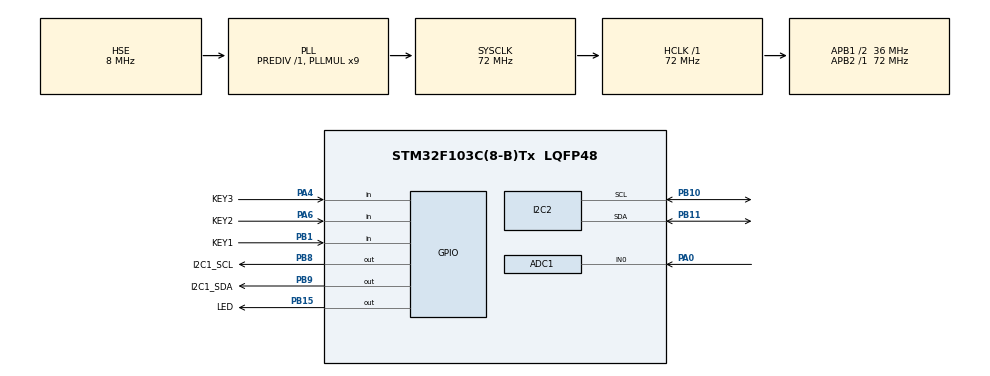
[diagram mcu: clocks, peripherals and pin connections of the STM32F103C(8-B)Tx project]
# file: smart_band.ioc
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ADC1.Channel-0\#ChannelRegularConversion=ADC_CHANNEL_0
ADC1.ContinuousConvMode=ENABLE
ADC1.NbrOfConversionFlag=1
ADC1.Rank-0\#ChannelRegularConversion=1
ADC1.SamplingTime-0\#ChannelRegularConversion=ADC_SAMPLETIME_1CYCLE_5
ADC1.master=1
I2C2.I2C_Mode=I2C_Fast
Mcu.Family=STM32F1
Mcu.Name=STM32F103C(8-B)Tx
Mcu.Package=LQFP48
NVIC.PriorityGroup=NVIC_PRIORITYGROUP_4
NVIC.TIM2_IRQn=true\:1\:0\:true\:false\:true\:true\:true\:true
PA0-WKUP.Signal=ADCx_IN0
PA13.Mode=Serial_Wire
PA13.Signal=SYS_JTMS-SWDIO
PA14.Mode=Serial_Wire
PA14.Signal=SYS_JTCK-SWCLK
PA4.GPIO_Label=KEY3
PA4.GPIO_PuPd=GPIO_PULLUP
PA4.Signal=GPIO_Input
PA6.GPIO_Label=KEY2
PA6.GPIO_PuPd=GPIO_PULLUP
PA6.Signal=GPIO_Input
PB1.GPIO_Label=KEY1
PB1.GPIO_PuPd=GPIO_PULLUP
PB1.Signal=GPIO_Input
PB10.Mode=I2C
PB10.Signal=I2C2_SCL
PB11.Mode=I2C
PB11.Signal=I2C2_SDA
PB15.GPIO_Label=LED
PB15.PinState=GPIO_PIN_SET
PB15.Signal=GPIO_Output
PB8.GPIO_Label=I2C1_SCL
PB8.GPIO_Speed=GPIO_SPEED_FREQ_HIGH
PB8.PinState=GPIO_PIN_SET
PB8.Signal=GPIO_Output
PB9.GPIO_Label=I2C1_SDA
PB9.GPIO_Speed=GPIO_SPEED_FREQ_HIGH
PB9.PinState=GPIO_PIN_SET
PB9.Signal=GPIO_Output
PC14-OSC32_IN.Mode=LSE-External-Oscillator
PC14-OSC32_IN.Signal=RCC_OSC32_IN
PC15-OSC32_OUT.Mode=LSE-External-Oscillator
PC15-OSC32_OUT.Signal=RCC_OSC32_OUT
PD0-OSC_IN.Mode=HSE-External-Oscillator
PD0-OSC_IN.Signal=RCC_OSC_IN
PD1-OSC_OUT.Mode=HSE-External-Oscillator
PD1-OSC_OUT.Signal=RCC_OSC_OUT
ProjectManager.HeapSize=0x200
ProjectManager.StackSize=0x400
ProjectManager.TargetToolchain=CMake
RCC.ADCPresc=RCC_ADCPCLK2_DIV6
RCC.AHBFreq_Value=72000000
RCC.APB1CLKDivider=RCC_HCLK_DIV2
RCC.APB1Freq_Value=36000000
RCC.APB1TimFreq_Value=72000000
RCC.APB2Freq_Value=72000000
RCC.APB2TimFreq_Value=72000000
RCC.HCLKFreq_Value=72000000
RCC.PLLMUL=RCC_PLL_MUL9
RCC.PLLSourceVirtual=RCC_PLLSOURCE_HSE
RCC.RTCClockSelection=RCC_RTCCLKSOURCE_LSE
RCC.SYSCLKFreq_VALUE=72000000
RCC.SYSCLKSource=RCC_SYSCLKSOURCE_PLLCLK
RCC.USBFreq_Value=72000000
SH.ADCx_IN0.0=ADC1_IN0,IN0
TIM2.Period=100-1
TIM2.Prescaler=720-1
VP_RTC_VS_RTC_Activate.Mode=RTC_Enabled
VP_TIM2_VS_ClockSourceINT.Mode=Internal
board=custom

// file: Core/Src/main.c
/* USER CODE BEGIN Header */
/**
  ******************************************************************************
  * @file           : main.c
  * @brief          : Main program body
  ******************************************************************************
  * @attention
  *
  * Copyright (c) 2026 STMicroelectronics.
  * All rights reserved.
  *
  * This software is licensed under terms that can be found in the LICENSE file
  * in the root directory of this software component.
  * If no LICENSE file comes with this software, it is provided AS-IS.
  *
  ******************************************************************************
  */
/* USER CODE END Header */
#include "main.h"
#include "adc.h"
#include "i2c.h"
#include "rtc.h"
#include "tim.h"
#include "gpio.h"

/* USER CODE BEGIN Includes */
#include "oled.h"
#include "font.h"
#include "h_rtc.h"
#include <stdio.h>
#include <string.h>
#include "menu.h"
#include "key.h"
#include "settime.h"
#include "dino.h"

/* USER CODE END Includes */

void SystemClock_Config(void);

int main(void)
{

  /* MCU Configuration--------------------------------------------------------*/

  /* Reset of all peripherals, Initializes the Flash interface and the Systick. */
  HAL_Init();

  /* Configure the system clock */
  SystemClock_Config();

  /* Initialize all configured peripherals */
  MX_GPIO_Init();
  MX_RTC_Init();
  MX_TIM2_Init();
  MX_I2C2_Init();
  MX_ADC1_Init();
  /* USER CODE BEGIN 2 */
  HAL_Delay(100); // 上电延时，确保OLED电源稳定
  OLED_Init();
  OLED_NewFrame();
  OLED_ShowFrame();
  Peripheral_Init();
  HAL_TIM_Base_Start_IT(&htim2); // 启动定时器中断
  int clkflag1;

  /* USER CODE END 2 */

  /* Infinite loop */
  while (1)
  {

    /* USER CODE BEGIN 3 */

    clkflag1 = First_Page_Clock();
    if (clkflag1 == 1){
      Menu();
    }
    else if (clkflag1 == 2){
      SettingPage();
    }
    // DinoGame_Animation();
    //Show_Clock_UI();
    //HAL_Delay(1000);
     // 每秒更新一次显示
  }
  /* USER CODE END 3 */
}

void SystemClock_Config(void)
{
  RCC_OscInitTypeDef RCC_OscInitStruct = {0};
  RCC_ClkInitTypeDef RCC_ClkInitStruct = {0};
  RCC_PeriphCLKInitTypeDef PeriphClkInit = {0};

  /** Initializes the RCC Oscillators according to the specified parameters
  * in the RCC_OscInitTypeDef structure.
  */
  RCC_OscInitStruct.OscillatorType = RCC_OSCILLATORTYPE_HSE|RCC_OSCILLATORTYPE_LSE;
  RCC_OscInitStruct.HSEState = RCC_HSE_ON;
  RCC_OscInitStruct.HSEPredivValue = RCC_HSE_PREDIV_DIV1;
  RCC_OscInitStruct.LSEState = RCC_LSE_ON;
  RCC_OscInitStruct.HSIState = RCC_HSI_ON;
  RCC_OscInitStruct.PLL.PLLState = RCC_PLL_ON;
  RCC_OscInitStruct.PLL.PLLSource = RCC_PLLSOURCE_HSE;
  RCC_OscInitStruct.PLL.PLLMUL = RCC_PLL_MUL9;
  if (HAL_RCC_OscConfig(&RCC_OscInitStruct) != HAL_OK)
  {
    Error_Handler();
  }

  /** Initializes the CPU, AHB and APB buses clocks
  */
  RCC_ClkInitStruct.ClockType = RCC_CLOCKTYPE_HCLK|RCC_CLOCKTYPE_SYSCLK
                              |RCC_CLOCKTYPE_PCLK1|RCC_CLOCKTYPE_PCLK2;
  RCC_ClkInitStruct.SYSCLKSource = RCC_SYSCLKSOURCE_PLLCLK;
  RCC_ClkInitStruct.AHBCLKDivider = RCC_SYSCLK_DIV1;
  RCC_ClkInitStruct.APB1CLKDivider = RCC_HCLK_DIV2;
  RCC_ClkInitStruct.APB2CLKDivider = RCC_HCLK_DIV1;

  if (HAL_RCC_ClockConfig(&RCC_ClkInitStruct, FLASH_LATENCY_2) != HAL_OK)
  {
    Error_Handler();
  }
  PeriphClkInit.PeriphClockSelection = RCC_PERIPHCLK_RTC|RCC_PERIPHCLK_ADC;
  PeriphClkInit.RTCClockSelection = RCC_RTCCLKSOURCE_LSE;
  PeriphClkInit.AdcClockSelection = RCC_ADCPCLK2_DIV6;
  if (HAL_RCCEx_PeriphCLKConfig(&PeriphClkInit) != HAL_OK)
  {
    Error_Handler();
  }
}

/* USER CODE BEGIN 4 */

void HAL_TIM_PeriodElapsedCallback(TIM_HandleTypeDef *htim)
{
  if (htim->Instance == TIM2) // 判断是否为TIM2的中断
  {
    Key_Tick(); // 调用按键扫描函数
    StopWatch_Tick(); // 调用秒表计时函数
    Dino_Tick();
    TIM2->SR &= ~TIM_SR_UIF; // 清除中断标志位
  }
}

/* USER CODE END 4 */

void Error_Handler(void)
{
  __disable_irq();
  while (1)
  {
  }
}
